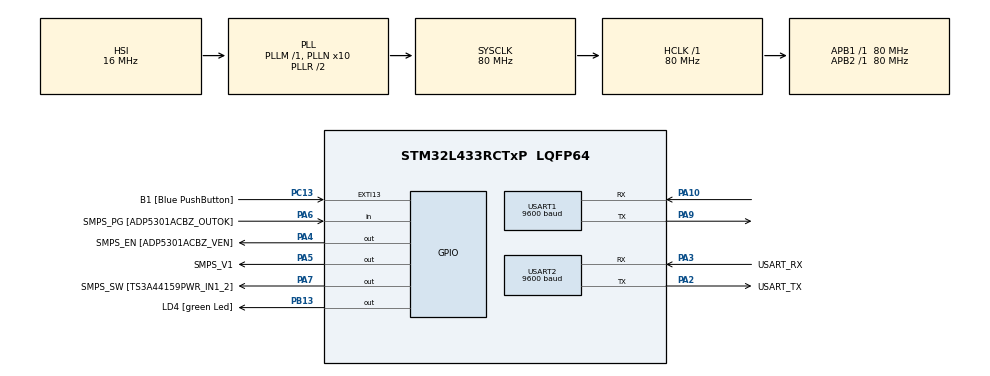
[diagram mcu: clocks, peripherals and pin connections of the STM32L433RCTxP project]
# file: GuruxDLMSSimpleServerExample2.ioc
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Mcu.Family=STM32L4
Mcu.Name=STM32L433RCTxP
Mcu.Package=LQFP64
NVIC.PriorityGroup=NVIC_PRIORITYGROUP_4
NVIC.USART1_IRQn=true\:0\:0\:false\:false\:true\:true\:true\:true
NVIC.USART2_IRQn=true\:0\:0\:false\:false\:true\:true\:true\:true
PA10.Mode=Asynchronous
PA10.Signal=USART1_RX
PA13\ (JTMS-SWDIO).GPIO_Label=TMS
PA13\ (JTMS-SWDIO).Mode=Serial_Wire
PA13\ (JTMS-SWDIO).Signal=SYS_JTMS-SWDIO
PA14\ (JTCK-SWCLK).GPIO_Label=TCK
PA14\ (JTCK-SWCLK).Mode=Serial_Wire
PA14\ (JTCK-SWCLK).Signal=SYS_JTCK-SWCLK
PA2.GPIO_Label=USART_TX
PA2.GPIO_Mode=GPIO_MODE_AF_PP
PA2.GPIO_PuPd=GPIO_NOPULL
PA2.GPIO_Speed=GPIO_SPEED_FREQ_VERY_HIGH
PA2.Mode=Asynchronous
PA2.Signal=USART2_TX
PA3.GPIO_Label=USART_RX
PA3.GPIO_Mode=GPIO_MODE_AF_PP
PA3.GPIO_PuPd=GPIO_NOPULL
PA3.GPIO_Speed=GPIO_SPEED_FREQ_VERY_HIGH
PA3.Mode=Asynchronous
PA3.Signal=USART2_RX
PA4.GPIO_Label=SMPS_EN [ADP5301ACBZ_VEN]
PA4.Signal=GPIO_Output
PA5.GPIO_Label=SMPS_V1
PA5.GPIO_ModeDefaultOutputPP=GPIO_MODE_OUTPUT_PP
PA5.GPIO_PuPd=GPIO_NOPULL
PA5.GPIO_Speed=GPIO_SPEED_FREQ_LOW
PA5.Signal=GPIO_Output
PA6.GPIO_Label=SMPS_PG [ADP5301ACBZ_OUTOK]
PA6.GPIO_PuPd=GPIO_PULLUP
PA6.Signal=GPIO_Input
PA7.GPIO_Label=SMPS_SW [TS3A44159PWR_IN1_2]
PA7.Signal=GPIO_Output
PA9.Mode=Asynchronous
PA9.Signal=USART1_TX
PB13.GPIO_Label=LD4 [green Led]
PB13.Signal=GPIO_Output
PB3\ (JTDO-TRACESWO).GPIO_Label=SWO
PB3\ (JTDO-TRACESWO).Signal=SYS_JTDO-SWO
PC13.GPIO_Label=B1 [Blue PushButton]
PC13.GPIO_ModeDefaultEXTI=GPIO_MODE_IT_FALLING
PC13.GPIO_PuPd=GPIO_NOPULL
PC13.Signal=GPXTI13
PC14-OSC32_IN\ (PC14).Mode=LSE-External-Oscillator
PC14-OSC32_IN\ (PC14).Signal=RCC_OSC32_IN
PC15-OSC32_OUT\ (PC15).Mode=LSE-External-Oscillator
PC15-OSC32_OUT\ (PC15).Signal=RCC_OSC32_OUT
PH0-OSC_IN\ (PH0).GPIO_Label=MCO
PH0-OSC_IN\ (PH0).Mode=HSE-External-Clock-Source
PH0-OSC_IN\ (PH0).Signal=RCC_OSC_IN
PH1-OSC_OUT\ (PH1).Signal=RCC_OSC_OUT
ProjectManager.HeapSize=0x200
ProjectManager.StackSize=0x400
ProjectManager.TargetToolchain=MDK-ARM V5.32
RCC.ADCFreq_Value=64000000
RCC.AHBFreq_Value=80000000
RCC.APB1Freq_Value=80000000
RCC.APB1TimFreq_Value=80000000
RCC.APB2Freq_Value=80000000
RCC.APB2TimFreq_Value=80000000
RCC.CortexFreq_Value=80000000
RCC.HCLKFreq_Value=80000000
RCC.HSE_VALUE=8000000
RCC.HSI48_VALUE=48000000
RCC.HSI_VALUE=16000000
RCC.MSI_VALUE=4000000
RCC.PLLN=10
RCC.PLLSourceVirtual=RCC_PLLSOURCE_HSI
RCC.PREFETCH_ENABLE=1
RCC.SYSCLKFreq_VALUE=80000000
RCC.SYSCLKSource=RCC_SYSCLKSOURCE_PLLCLK
RCC.USBFreq_Value=64000000
RCC.VCOOutputFreq_Value=160000000
USART1.BaudRate=9600
USART1.VirtualMode-Asynchronous=VM_ASYNC
USART2.BaudRate=9600
USART2.VirtualMode-Asynchronous=VM_ASYNC
board=NUCLEO-L433RC-P

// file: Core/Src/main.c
/* USER CODE BEGIN Header */
/**
  ******************************************************************************
  * @file           : main.c
  * @brief          : Main program body
  ******************************************************************************
  * @attention
  *
  * Copyright (c) 2023 STMicroelectronics.
  * All rights reserved.
  *
  * This software is licensed under terms that can be found in the LICENSE file
  * in the root directory of this software component.
  * If no LICENSE file comes with this software, it is provided AS-IS.
  *
  ******************************************************************************
  */
/* USER CODE END Header */
#include "main.h"

/* USER CODE BEGIN Includes */

//printf needs this,
#include <stdio.h>

#include "../../dlms/include/bytebuffer.h"
#include "../../dlms/include/dlmssettings.h"
#include "../../dlms/include/variant.h"
#include "../../dlms/include/cosem.h"
#include "../../dlms/include/server.h"
#include "../../dlms/include/date.h"
#include "../../dlms/include/gxserializer.h"

/* USER CODE END Includes */

/* USER CODE BEGIN PD */
//TODO:
/*Data is serialized for the memory because all the boards doesn't have
EEPROM or Flash where data can be saved.*/
static unsigned char SERIALIZE_BUFFER[30000] = { 0 };

static gxSerializerSettings serializerSettings;

//Is trace used. Trace is send for UART 1. This can be used for testing purposes.
static GX_TRACE_LEVEL trace = GX_TRACE_LEVEL_VERBOSE;

//Set master key (KEK) to 1111111111111111.
static unsigned char KEK[16] = { 0x31,0x31, 0x31, 0x31, 0x31, 0x31, 0x31, 0x31, 0x31, 0x31, 0x31, 0x31, 0x31, 0x31, 0x31, 0x31 };

//Space for client password.
static unsigned char PASSWORD[20];
//Space for client challenge.
static unsigned char C2S_CHALLENGE[64];
//Space for server challenge.
static unsigned char S2C_CHALLENGE[64];
//Allocate space for read list.
static gxValueEventArg events[10];

static uint32_t executeTime = 0;

static uint8_t Rx_data = 0;
static uint8_t received = 0;
/* USER CODE END PD */

UART_HandleTypeDef huart1;
UART_HandleTypeDef huart2;

void SystemClock_Config(void);
static void MX_GPIO_Init(void);
static void MX_USART1_UART_Init(void);
static void MX_USART2_UART_Init(void);

/* USER CODE BEGIN 0 */

long time_current(void)
{
	//TODO: Get current time somewhere.
	//This is not added because RTC is not installed.
	return (long)0;//time(NULL);
}

uint32_t time_elapsed(void)
{
	//TODO: Get current time somewhere.
	//This is not added because RTC is not installed.
	return (uint32_t)0;//millis();
}

void time_now(
gxtime* value)
{
	//TODO: Get current time somewhere.
	//This is not added because RTC is not installed.
	time_initUnix(value, 0);
	/*
	time_t tm1 = time(NULL);
	struct tm dt = *localtime(&tm1);
	time_init2(value, &dt);
	*/
}

uint32_t SERIALIZER_SIZE()
{
	//TODO: handle serialization. Serialization depends from the board that is not implemented.
	return sizeof(SERIALIZE_BUFFER);
}

//Read byte
extern int SERIALIZER_LOAD(uint32_t index, uint32_t count, void* value)
{
	//TODO: handle serialization. Serialization depends from the board that is not implemented.
	uint16_t pos;
	if (value == NULL)
	{
			return DLMS_ERROR_CODE_SERIALIZATION_LOAD_FAILURE;
	}
	unsigned char* p = (unsigned char*)value;
	for (pos = 0; pos != count; ++pos)
	{
			*p = SERIALIZE_BUFFER[index + pos];
			++p;
	}
	return 0;
}

//Write byte
extern int SERIALIZER_SAVE(uint32_t index, uint32_t count, const void* value)
{
	//TODO: handle serialization. Serialization depends from the board that is not implemented.
	uint16_t pos;
	if (value == NULL)
	{
			return DLMS_ERROR_CODE_SERIALIZATION_SAVE_FAILURE;
	}
	if (!((index + count) < sizeof(SERIALIZE_BUFFER)))
	{
			return DLMS_ERROR_CODE_OUTOFMEMORY;
	}
	unsigned char* p = (unsigned char*)value;
	for (pos = 0; pos != count; ++pos)
	{
			SERIALIZE_BUFFER[index + pos] = *p;
			++p;
	}
	return 0;
}

/* Private user code ---------------------------------------------------------*/

/**
 * \brief Function for putting a char in the UART buffer
 *
 * \param data the data to add to the UART buffer and send.
 *
 */
static inline int uart_write(gxByteBuffer* data)
{
	HAL_UART_Transmit(&huart2, data->data, data->size, 500);
  return 0;
}

/**
 * \brief Function for putting a trace char in the UART buffer
 *
 * \param data the data to add to the UART buffer and send.
 *
 */
static inline int uart_traceWrite(const char* data)
{
	HAL_UART_Transmit(&huart1, (uint8_t*) data, strlen(data), 500);
  return 0;
}

///////////////////////////////////////////////////////////////////////
// Write trace to the serial port.
//
// This can be used for debugging.
///////////////////////////////////////////////////////////////////////
void GXTRACE(const char* str, const char* data)
{
  if (trace == GX_TRACE_LEVEL_VERBOSE)
  {
		char data[10];
    uint32_t value = HAL_GetTick();
    uart_traceWrite((const char*) "\t:");
		sprintf(data, " %ld", value);
		uart_traceWrite(data);
    uart_traceWrite((const char*) "\t");
    uart_traceWrite(str);
    uart_traceWrite(data);
    uart_traceWrite((const char*) "\0");
		HAL_Delay(10);
  }
}

///////////////////////////////////////////////////////////////////////
// Write trace to the serial port.
//
// This can be used for debugging.
///////////////////////////////////////////////////////////////////////
void GXTRACE_INT(const char* str, int32_t value)
{
  char data[10] = {0};
  sprintf(data, " %ld", value);
  GXTRACE(str, data);
}

//DLMS settings.
dlmsServerSettings settings;
//Meter serial number.
unsigned long SERIAL_NUMBER = 123456;
//Flag ID of the meter.
const static char* FLAG_ID = "GRX";

#define HDLC_HEADER_SIZE 17
#define HDLC_BUFFER_SIZE 128
#define PDU_BUFFER_SIZE 512
#define WRAPPER_BUFFER_SIZE 8 + PDU_BUFFER_SIZE
static gxByteBuffer reply;
//Buffer where received data is saved.
static unsigned char dataBuff[64];
static gxByteBuffer data2;

//Buffer where frames are saved.
static unsigned char frameBuff[HDLC_BUFFER_SIZE + HDLC_HEADER_SIZE];
//Buffer where PDUs are saved. Add 3 bytes for LLC bytes.
static unsigned char pduBuff[3 + PDU_BUFFER_SIZE];
static unsigned char replyFrame[PDU_BUFFER_SIZE + HDLC_HEADER_SIZE];
//Define server system title.
static unsigned char SERVER_SYSTEM_TITLE[8] = { 0 };

static gxData ldn;
static gxIecHdlcSetup hdlc;
//Don't use clock as a name. Some compilers are using clock as reserved word.
static gxClock clock1;
gxAssociationLogicalName association;
static gxRegister activePowerL1;

static gxObject* ALL_OBJECTS[] = { BASE(association), BASE(ldn), BASE(clock1), BASE(activePowerL1), BASE(hdlc) };

/////////////////////////////////////////////////////////////////////////////
// Save data to the EEPROM.
//
// Only updated value is saved. This is done because write to EEPROM is slow
// and there is a limit how many times value can be written to the EEPROM.
/////////////////////////////////////////////////////////////////////////////
int saveSettings(gxObject* savedObject, uint16_t savedAttributes)
{
  int ret = 0;
  serializerSettings.savedObject = savedObject;
  serializerSettings.savedAttributes = savedAttributes;
  if ((ret = ser_saveObjects(&serializerSettings, ALL_OBJECTS, sizeof(ALL_OBJECTS) / sizeof(ALL_OBJECTS[0]))) != 0)
  {
    GXTRACE_INT(GET_STR_FROM_EEPROM("saveObjects failed: "), ret);
  }
  else
  {
    GXTRACE_INT(GET_STR_FROM_EEPROM("saveObjects succeeded. Index: "), serializerSettings.updateStart);
    GXTRACE_INT(GET_STR_FROM_EEPROM("Count: "), serializerSettings.updateEnd - serializerSettings.updateStart);
  }
  return ret;
}

/////////////////////////////////////////////////////////////////////////////
// Load data from the EEPROM.
// Returns serialization version or zero if data is not saved.
/////////////////////////////////////////////////////////////////////////////
int loadSettings()
{
  int ret = 0;
  serializerSettings.position = 0;
 //MIKKO ret = ser_loadObjects(&settings.base, &serializerSettings, ALL_OBJECTS, sizeof(ALL_OBJECTS) / sizeof(ALL_OBJECTS[0]));
  if (ret != 0)
  {
    GXTRACE_INT(GET_STR_FROM_EEPROM("Failed to load settings from EEPROM."), serializerSettings.position);
  }
  return ret;
}

///////////////////////////////////////////////////////////////////////
//This method adds example Logical Name Association object.
///////////////////////////////////////////////////////////////////////
int addAssociation()
{
	const unsigned char ln[6] = { 0, 0, 40, 0, 1, 255 };
	cosem_init2(BASE(association), DLMS_OBJECT_TYPE_ASSOCIATION_LOGICAL_NAME, ln);
	//Only Logical Device Name is add to this Association View.
	//Use this if you  need to save heap.
	oa_attach(&association.objectList, ALL_OBJECTS, sizeof(ALL_OBJECTS) / sizeof(ALL_OBJECTS[0]));
	bb_addString(&association.secret, "Gurux");
	association.authenticationMechanismName.mechanismId = DLMS_AUTHENTICATION_NONE;
	return 0;
}

///////////////////////////////////////////////////////////////////////
//Add Logical Device Name. 123456 is meter serial number.
///////////////////////////////////////////////////////////////////////
// COSEM Logical Device Name is defined as an octet-string of 16 octets.
// The first three octets uniquely identify the manufacturer of the device and it corresponds
// to the manufacturer's identification in IEC 62056-21.
// The following 13 octets are assigned by the manufacturer.
//The manufacturer is responsible for guaranteeing the uniqueness of these octets.
int addLogicalDeviceName() {
	int ret;
	const unsigned char ln[6] = { 0, 0, 42, 0, 0, 255 };
	if ((ret = INIT_OBJECT(ldn, DLMS_OBJECT_TYPE_DATA, ln)) == 0)
	{
			//Define Logical Device Name.
			static char LDN[17];
			sprintf(LDN, "%s%.13lu", FLAG_ID, SERIAL_NUMBER);
			GX_OCTET_STRING(ldn.value, LDN, sizeof(LDN));
	}
	return ret;
}

///////////////////////////////////////////////////////////////////////
//This method adds example clock object.
///////////////////////////////////////////////////////////////////////
int addClockObject()
{
	int ret = 0;
	//Add default clock. Clock's Logical Name is 0.0.1.0.0.255.
	const unsigned char ln[6] = { 0, 0, 1, 0, 0, 255 };
	if ((ret = INIT_OBJECT(clock1, DLMS_OBJECT_TYPE_CLOCK, ln)) == 0)
	{
		//Set default values.
		time_init(&clock1.begin, -1, 3, -1, 2, 0, 0, 0, 0);
		clock1.begin.extraInfo = DLMS_DATE_TIME_EXTRA_INFO_LAST_DAY;
		time_init(&clock1.end, -1, 10, -1, 3, 0, 0, 0, 0);
		clock1.end.extraInfo = DLMS_DATE_TIME_EXTRA_INFO_LAST_DAY;
		//Meter is using UTC time zone.
		clock1.timeZone = 0;
		//Deviation is 60 minutes.
		clock1.deviation = 60;
		clock1.clockBase = DLMS_CLOCK_BASE_FREQUENCY_50;
	}
	//Set default clock.
	settings.defaultClock = &clock1;
	return ret;
}

///////////////////////////////////////////////////////////////////////
//Add IEC HDLC Setup object.
///////////////////////////////////////////////////////////////////////
int addIecHdlcSetup()
{
	int ret = 0;
	unsigned char ln[6] = { 0, 0, 22, 0, 0, 255 };
	if ((ret = INIT_OBJECT(hdlc, DLMS_OBJECT_TYPE_IEC_HDLC_SETUP, ln)) == 0)
	{
		hdlc.communicationSpeed = DLMS_BAUD_RATE_9600;
		hdlc.windowSizeReceive = hdlc.windowSizeTransmit = 1;
		hdlc.maximumInfoLengthTransmit = hdlc.maximumInfoLengthReceive = 128;
		hdlc.inactivityTimeout = 120;
		hdlc.deviceAddress = 0x10;
	}
	settings.hdlc = &hdlc;
	return ret;
}

///////////////////////////////////////////////////////////////////////
//This method adds example register object.
///////////////////////////////////////////////////////////////////////
int addRegisterObject()
{
	const unsigned char ln[6] = { 1,1,21,25,0,255 };
	cosem_init2((gxObject*)&activePowerL1, DLMS_OBJECT_TYPE_REGISTER, ln);
	//10 ^ 3 =  1000
	activePowerL1.scaler = 3;
	activePowerL1.unit = 30;
	return 0;
}

int svr_findObject(
dlmsSettings* settings,
DLMS_OBJECT_TYPE objectType,
int sn,
unsigned char* ln,
gxValueEventArg *e)
{
	if (objectType == DLMS_OBJECT_TYPE_ASSOCIATION_LOGICAL_NAME)
	{
		e->target = &association.base;
	}
	return 0;
}

/////////////////////////////////////////////////////////////////////////////
//
/////////////////////////////////////////////////////////////////////////////
void svr_preRead(
dlmsSettings* settings,
gxValueEventCollection* args)
{
	gxValueEventArg *e;
	int ret, pos;
	DLMS_OBJECT_TYPE type;
	for (pos = 0; pos != args->size; ++pos)
	{
		if ((ret = vec_getByIndex(args, pos, &e)) != 0)
		{
			return;
		}
		//Let framework handle Logical Name read.
		if (e->index == 1)
		{
			continue;
		}

		//Get target type.
		type = (DLMS_OBJECT_TYPE)e->target->objectType;
		//Let Framework will handle Association objects and profile generic automatically.
		if (type == DLMS_OBJECT_TYPE_ASSOCIATION_LOGICAL_NAME ||
		type == DLMS_OBJECT_TYPE_ASSOCIATION_SHORT_NAME)
		{
			continue;
		}
		//Update value by one every time when user reads register.
		if (e->target == &activePowerL1.base && e->index == 2)
		{
			var_setUInt16(&activePowerL1.value, activePowerL1.value.uiVal + 1);
		}
		//Get time if user want to read date and time.
		if (e->target == &clock1.base && e->index == 2)
		{
			time_now(&((gxClock*)e->target)->time);
		}
	}
}

/////////////////////////////////////////////////////////////////////////////
//
/////////////////////////////////////////////////////////////////////////////
void svr_preWrite(
dlmsSettings* settings,
gxValueEventCollection* args)
{
	#if defined(_WIN32) || defined(_WIN64) || defined(__linux__)//If Windows or Linux
	char str[25];
	gxValueEventArg *e;
	int ret, pos;
	for (pos = 0; pos != args->size; ++pos)
	{
		if ((ret = vec_getByIndex(args, pos, &e)) != 0)
		{
			return;
		}
		hlp_getLogicalNameToString(e->target->logicalName, str);
		printf("Writing %s\r\n", str);

	}
	#endif //defined(_WIN32) || defined(_WIN64) || defined(__linux__)//If Windows or Linux
}

/////////////////////////////////////////////////////////////////////////////
//
/////////////////////////////////////////////////////////////////////////////
void svr_preAction(
dlmsSettings* settings,
gxValueEventCollection* args)
{
	#if defined(_WIN32) || defined(_WIN64) || defined(__linux__)//If Windows or Linux
	char str[25];
	#endif
	gxValueEventArg *e;
	int ret, pos;
	for (pos = 0; pos != args->size; ++pos)
	{
		if ((ret = vec_getByIndex(args, pos, &e)) != 0)
		{
			return;
		}
		#if defined(_WIN32) || defined(_WIN64) || defined(__linux__)//If Windows or Linux
		hlp_getLogicalNameToString(e->target->logicalName, str);
		printf("Action %s:%d\n", str, e->index);
		#endif
	}
}

/////////////////////////////////////////////////////////////////////////////
//
/////////////////////////////////////////////////////////////////////////////
void svr_postRead(
dlmsSettings* settings,
gxValueEventCollection* args)
{
}
/////////////////////////////////////////////////////////////////////////////
//
/////////////////////////////////////////////////////////////////////////////
void svr_postWrite(
dlmsSettings* settings,
gxValueEventCollection* args)
{
}

/////////////////////////////////////////////////////////////////////////////
//
/////////////////////////////////////////////////////////////////////////////
void svr_postAction(
dlmsSettings* settings,
gxValueEventCollection* args)
{
	gxValueEventArg *e;
	int ret, pos;
	for (pos = 0; pos != args->size; ++pos)
	{
		if ((ret = vec_getByIndex(args, pos, &e)) != 0)
		{
			return;
		}
	}
}

unsigned char svr_isTarget(
	dlmsSettings *settings,
	unsigned long serverAddress,
	unsigned long clientAddress)
{
	//Check server address using serial number.
	if ((serverAddress & 0x3FFF) == SERIAL_NUMBER % 10000 + 1000)
	{
		return 1;
	}
	//Check server address with two bytes.
	if ((serverAddress & 0xFFFF0000) == 0 && (serverAddress & 0x7FFF) == 1)
	{
		return 1;
	}
	//Check server address with one byte.
	if ((serverAddress & 0xFFFFFF00) == 0 && (serverAddress & 0x7F) == 1)
	{
		return 1;
	}
	return 0;
}

DLMS_SOURCE_DIAGNOSTIC svr_validateAuthentication(
dlmsServerSettings* settings,
DLMS_AUTHENTICATION authentication,
gxByteBuffer* password)
{
	if (authentication == DLMS_AUTHENTICATION_NONE)
	{
		//Uncomment this if authentication is always required.
		//return DLMS_SOURCE_DIAGNOSTIC_AUTHENTICATION_MECHANISM_NAME_REQUIRED;
		return DLMS_SOURCE_DIAGNOSTIC_NONE;
	}
	//Uncomment this if only authentication None is supported.
	//return DLMS_SOURCE_DIAGNOSTIC_NO_REASON_GIVEN;
	return DLMS_SOURCE_DIAGNOSTIC_NONE;
}

/**
* Get attribute access level.
*/
DLMS_ACCESS_MODE svr_getAttributeAccess(
dlmsSettings *settings,
gxObject *obj,
unsigned char index)
{
	if (index == 1)
	{
		return DLMS_ACCESS_MODE_READ;
	}
	// Only read is allowed
	if (settings->authentication == DLMS_AUTHENTICATION_NONE)
	{
		return DLMS_ACCESS_MODE_READ;
	}
	// Only clock write is allowed.
	if (settings->authentication == DLMS_AUTHENTICATION_LOW)
	{
		if (obj->objectType == DLMS_OBJECT_TYPE_CLOCK)
		{
			return DLMS_ACCESS_MODE_READ_WRITE;
		}
		return DLMS_ACCESS_MODE_READ;
	}
	// All writes are allowed.
	return DLMS_ACCESS_MODE_READ_WRITE;
}

/**
* Get method access level.
*/
DLMS_METHOD_ACCESS_MODE svr_getMethodAccess(
dlmsSettings *settings,
gxObject *obj,
unsigned char index)
{
	// Methods are not allowed.
	if (settings->authentication == DLMS_AUTHENTICATION_NONE)
	{
		return DLMS_METHOD_ACCESS_MODE_NONE;
	}
	// Only clock methods are allowed.
	if (settings->authentication == DLMS_AUTHENTICATION_LOW)
	{
		if (obj->objectType == DLMS_OBJECT_TYPE_CLOCK)
		{
			return DLMS_METHOD_ACCESS_MODE_ACCESS;
		}
		return DLMS_METHOD_ACCESS_MODE_NONE;
	}
	return DLMS_METHOD_ACCESS_MODE_ACCESS;
}

/////////////////////////////////////////////////////////////////////////////
//Client has made connection to the server.
/////////////////////////////////////////////////////////////////////////////
int svr_connected(
dlmsServerSettings *settings)
{
	return 0;
}

/**
* Client has try to made invalid connection. Password is incorrect.
*
* @param connectionInfo
*            Connection information.
*/
int svr_invalidConnection(dlmsServerSettings *settings)
{
	return 0;
}

/////////////////////////////////////////////////////////////////////////////
// Client has close the connection.
/////////////////////////////////////////////////////////////////////////////
int svr_disconnected(
dlmsServerSettings *settings)
{
	return 0;
}

void svr_preGet(
dlmsSettings* settings,
gxValueEventCollection* args)
{
	gxValueEventArg *e;
	int ret, pos;
	for (pos = 0; pos != args->size; ++pos)
	{
		if ((ret = vec_getByIndex(args, pos, &e)) != 0)
		{
			return;
		}
	}
}

void svr_postGet(
dlmsSettings* settings,
gxValueEventCollection* args)
{

}

int createObjects()
{
	int ret;
	OA_ATTACH(settings.base.objects, ALL_OBJECTS);
	if ((ret = addLogicalDeviceName()) != 0 ||
    (ret = addClockObject()) != 0 ||
    (ret = addRegisterObject()) != 0 ||
		(ret = addIecHdlcSetup()) != 0 ||
    (ret = addAssociation()) != 0)
	{
		executeTime = 0;
	}
	if ((ret = loadSettings()) != 0)
  {
    GXTRACE_INT(GET_STR_FROM_EEPROM("Failed to load settings from EEPROM."), ret);
    executeTime = 0;
  }
  GXTRACE(GET_STR_FROM_EEPROM("Meter started."), NULL);
  return ret ;
}

void Receive(UART_HandleTypeDef *huart){
	if (huart->Instance == huart2.Instance)
	{
		bb_setUInt8(&data2, Rx_data);
		HAL_UART_Receive_IT(&huart2, &Rx_data, 1);
		received = 1;
	}
}

/* USER CODE END 0 */

int main(void)
{
  /* USER CODE BEGIN 1 */
	int ret;
  /* USER CODE END 1 */

  /* MCU Configuration--------------------------------------------------------*/

  /* Reset of all peripherals, Initializes the Flash interface and the Systick. */
  HAL_Init();

  /* Configure the system clock */
  SystemClock_Config();

  /* Initialize all configured peripherals */
  MX_GPIO_Init();
  MX_USART1_UART_Init();
  MX_USART2_UART_Init();
  /* USER CODE BEGIN 2 */
	//Add FLAG ID.
	memcpy(SERVER_SYSTEM_TITLE, FLAG_ID, 3);
	//ADD serial number.
	memcpy(SERVER_SYSTEM_TITLE + 4, &SERIAL_NUMBER, 4);
	bb_attach(&data2, dataBuff, 0, sizeof(dataBuff));
	bb_attach(&reply, replyFrame, 0, sizeof(replyFrame));

	//Start server using logical name referencing and HDLC framing.
	svr_init(&settings, 1, DLMS_INTERFACE_TYPE_HDLC, HDLC_BUFFER_SIZE, PDU_BUFFER_SIZE, frameBuff, sizeof(frameBuff), pduBuff, sizeof(pduBuff));
    //Allocate space for read list.
    vec_attach(&settings.transaction.targets, events, 0, sizeof(events) / sizeof(events[0]));
	//Allocate space for client password.
	BB_ATTACH(settings.base.password, PASSWORD, 0);
	//Allocate space for client challenge.
	BB_ATTACH(settings.base.ctoSChallenge, C2S_CHALLENGE, 0);
	//Allocate space for server challenge.
	BB_ATTACH(settings.base.stoCChallenge, S2C_CHALLENGE, 0);
	memcpy(settings.base.kek, KEK, sizeof(KEK));
	//Add COSEM objects.
	if ((ret = createObjects()) != 0)
	{
		 return ret;
	}
	svr_initialize(&settings);
  /* USER CODE END 2 */

  /* Infinite loop */
  while (1)
  {

    /* USER CODE BEGIN 3 */
	  if (received)
	  {
		if (svr_handleRequest(&settings, &data2, &reply) != 0)
		{
			bb_clear(&reply);
		}
		bb_clear(&data2);
		received = 0;
		if (reply.size != 0)
		{
			uart_write(&reply);
		}
	}
	//HAL_Delay(1000);
  }
  /* USER CODE END 3 */
}

void SystemClock_Config(void)
{
  RCC_OscInitTypeDef RCC_OscInitStruct = {0};
  RCC_ClkInitTypeDef RCC_ClkInitStruct = {0};

  /** Configure the main internal regulator output voltage
  */
  if (HAL_PWREx_ControlVoltageScaling(PWR_REGULATOR_VOLTAGE_SCALE1) != HAL_OK)
  {
    Error_Handler();
  }

  /** Initializes the RCC Oscillators according to the specified parameters
  * in the RCC_OscInitTypeDef structure.
  */
  RCC_OscInitStruct.OscillatorType = RCC_OSCILLATORTYPE_HSI;
  RCC_OscInitStruct.HSIState = RCC_HSI_ON;
  RCC_OscInitStruct.HSICalibrationValue = RCC_HSICALIBRATION_DEFAULT;
  RCC_OscInitStruct.PLL.PLLState = RCC_PLL_ON;
  RCC_OscInitStruct.PLL.PLLSource = RCC_PLLSOURCE_HSI;
  RCC_OscInitStruct.PLL.PLLM = 1;
  RCC_OscInitStruct.PLL.PLLN = 10;
  RCC_OscInitStruct.PLL.PLLP = RCC_PLLP_DIV7;
  RCC_OscInitStruct.PLL.PLLQ = RCC_PLLQ_DIV2;
  RCC_OscInitStruct.PLL.PLLR = RCC_PLLR_DIV2;
  if (HAL_RCC_OscConfig(&RCC_OscInitStruct) != HAL_OK)
  {
    Error_Handler();
  }

  /** Initializes the CPU, AHB and APB buses clocks
  */
  RCC_ClkInitStruct.ClockType = RCC_CLOCKTYPE_HCLK|RCC_CLOCKTYPE_SYSCLK
                              |RCC_CLOCKTYPE_PCLK1|RCC_CLOCKTYPE_PCLK2;
  RCC_ClkInitStruct.SYSCLKSource = RCC_SYSCLKSOURCE_PLLCLK;
  RCC_ClkInitStruct.AHBCLKDivider = RCC_SYSCLK_DIV1;
  RCC_ClkInitStruct.APB1CLKDivider = RCC_HCLK_DIV1;
  RCC_ClkInitStruct.APB2CLKDivider = RCC_HCLK_DIV1;

  if (HAL_RCC_ClockConfig(&RCC_ClkInitStruct, FLASH_LATENCY_4) != HAL_OK)
  {
    Error_Handler();
  }
}

static void MX_USART1_UART_Init(void)
{

  huart1.Instance = USART1;
  huart1.Init.BaudRate = 9600;
  huart1.Init.WordLength = UART_WORDLENGTH_8B;
  huart1.Init.StopBits = UART_STOPBITS_1;
  huart1.Init.Parity = UART_PARITY_NONE;
  huart1.Init.Mode = UART_MODE_TX_RX;
  huart1.Init.HwFlowCtl = UART_HWCONTROL_NONE;
  huart1.Init.OverSampling = UART_OVERSAMPLING_16;
  huart1.Init.OneBitSampling = UART_ONE_BIT_SAMPLE_DISABLE;
  huart1.AdvancedInit.AdvFeatureInit = UART_ADVFEATURE_NO_INIT;
  if (HAL_UART_Init(&huart1) != HAL_OK)
  {
    Error_Handler();
  }

}

static void MX_USART2_UART_Init(void)
{

  huart2.Instance = USART2;
  huart2.Init.BaudRate = 9600;
  huart2.Init.WordLength = UART_WORDLENGTH_8B;
  huart2.Init.StopBits = UART_STOPBITS_1;
  huart2.Init.Parity = UART_PARITY_NONE;
  huart2.Init.Mode = UART_MODE_TX_RX;
  huart2.Init.HwFlowCtl = UART_HWCONTROL_NONE;
  huart2.Init.OverSampling = UART_OVERSAMPLING_16;
  huart2.Init.OneBitSampling = UART_ONE_BIT_SAMPLE_DISABLE;
  huart2.AdvancedInit.AdvFeatureInit = UART_ADVFEATURE_NO_INIT;
  if (HAL_UART_Init(&huart2) != HAL_OK)
  {
    Error_Handler();
  }
  /* USER CODE BEGIN USART2_Init 2 */
	HAL_UART_RegisterCallback(&huart2, HAL_UART_RX_COMPLETE_CB_ID, Receive);
	HAL_UART_Receive_IT(&huart2, &Rx_data, 1);
  /* USER CODE END USART2_Init 2 */

}

static void MX_GPIO_Init(void)
{
  GPIO_InitTypeDef GPIO_InitStruct = {0};

  /* GPIO Ports Clock Enable */
  __HAL_RCC_GPIOC_CLK_ENABLE();
  __HAL_RCC_GPIOH_CLK_ENABLE();
  __HAL_RCC_GPIOA_CLK_ENABLE();
  __HAL_RCC_GPIOB_CLK_ENABLE();

  /*Configure GPIO pin Output Level */
  HAL_GPIO_WritePin(GPIOA, SMPS_EN_Pin|SMPS_V1_Pin|SMPS_SW_Pin, GPIO_PIN_RESET);

  /*Configure GPIO pin Output Level */
  HAL_GPIO_WritePin(LD4_GPIO_Port, LD4_Pin, GPIO_PIN_RESET);

  /*Configure GPIO pin : B1_Pin */
  GPIO_InitStruct.Pin = B1_Pin;
  GPIO_InitStruct.Mode = GPIO_MODE_IT_FALLING;
  GPIO_InitStruct.Pull = GPIO_NOPULL;
  HAL_GPIO_Init(B1_GPIO_Port, &GPIO_InitStruct);

  /*Configure GPIO pins : SMPS_EN_Pin SMPS_V1_Pin SMPS_SW_Pin */
  GPIO_InitStruct.Pin = SMPS_EN_Pin|SMPS_V1_Pin|SMPS_SW_Pin;
  GPIO_InitStruct.Mode = GPIO_MODE_OUTPUT_PP;
  GPIO_InitStruct.Pull = GPIO_NOPULL;
  GPIO_InitStruct.Speed = GPIO_SPEED_FREQ_LOW;
  HAL_GPIO_Init(GPIOA, &GPIO_InitStruct);

  /*Configure GPIO pin : SMPS_PG_Pin */
  GPIO_InitStruct.Pin = SMPS_PG_Pin;
  GPIO_InitStruct.Mode = GPIO_MODE_INPUT;
  GPIO_InitStruct.Pull = GPIO_PULLUP;
  HAL_GPIO_Init(SMPS_PG_GPIO_Port, &GPIO_InitStruct);

  /*Configure GPIO pin : LD4_Pin */
  GPIO_InitStruct.Pin = LD4_Pin;
  GPIO_InitStruct.Mode = GPIO_MODE_OUTPUT_PP;
  GPIO_InitStruct.Pull = GPIO_NOPULL;
  GPIO_InitStruct.Speed = GPIO_SPEED_FREQ_LOW;
  HAL_GPIO_Init(LD4_GPIO_Port, &GPIO_InitStruct);

}

void Error_Handler(void)
{
  __disable_irq();
  while (1)
  {
  }
}
